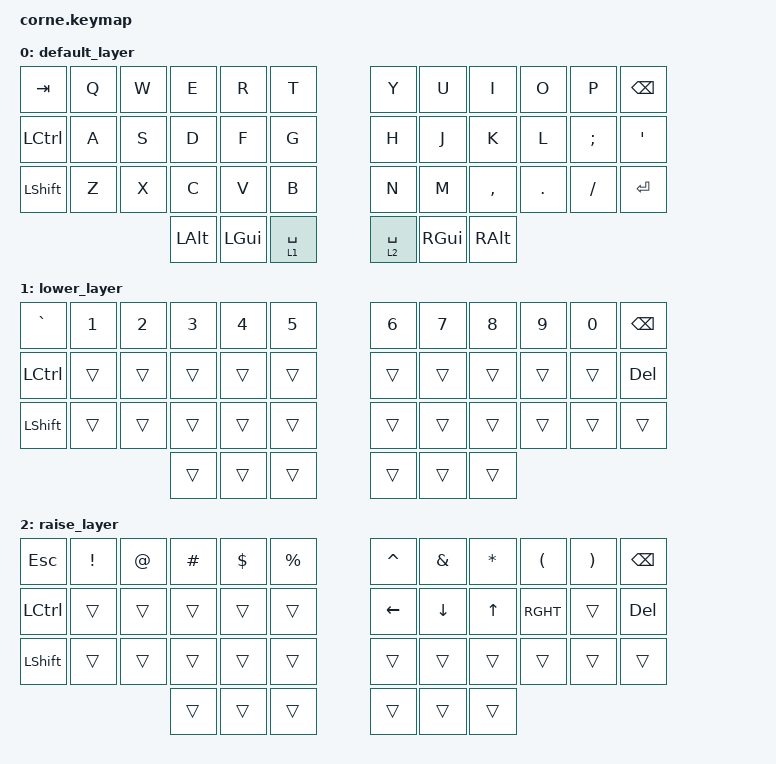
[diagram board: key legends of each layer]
#include <behaviors.dtsi>
#include <dt-bindings/zmk/keys.h>
#include <dt-bindings/zmk/bt.h>

/ {
    keymap {
        compatible = "zmk,keymap";

        default_layer {
            bindings = <
  &kp TAB    &kp Q      &kp W      &kp E       &kp R       &kp T         &kp Y      &kp U       &kp I      &kp O    &kp P     &kp BSPC
  &kp LCTRL  &kp A      &kp S      &kp D       &kp F       &kp G         &kp H      &kp J       &kp K      &kp L    &kp SEMI  &kp SQT
  &kp LSHFT  &kp Z      &kp X      &kp C       &kp V       &kp B         &kp N      &kp M       &kp COMMA  &kp DOT  &kp FSLH  &kp RET
                                    &kp LALT   &kp LGUI    &lt 1 SPACE   &lt 2 SPACE  &kp RGUI    &kp RALT
            >;
        };

        lower_layer {
            bindings = <
  &kp GRAVE  &kp N1     &kp N2     &kp N3      &kp N4      &kp N5        &kp N6     &kp N7      &kp N8     &kp N9   &kp N0    &kp BSPC
  &kp LCTRL  &trans     &trans     &trans      &trans      &trans        &trans     &trans      &trans     &trans   &trans    &kp DEL
  &kp LSHFT  &trans     &trans     &trans      &trans      &trans        &trans     &trans      &trans     &trans   &trans    &trans
                                    &trans     &trans      &trans        &trans     &trans      &trans
            >;
        };

        raise_layer {
            bindings = <
  &kp ESC    &kp EXCL   &kp AT     &kp HASH    &kp DLLR    &kp PRCNT     &kp CARET  &kp AMPS    &kp STAR   &kp LPAR &kp RPAR  &kp BSPC
  &kp LCTRL  &trans     &trans     &trans      &trans      &trans        &kp LEFT   &kp DOWN    &kp UP     &kp RGHT &trans    &kp DEL
  &kp LSHFT  &trans     &trans     &trans      &trans      &trans        &trans     &trans      &trans     &trans   &trans    &trans
                                    &trans     &trans      &trans        &trans     &trans      &trans
            >;
        };
    };
};
